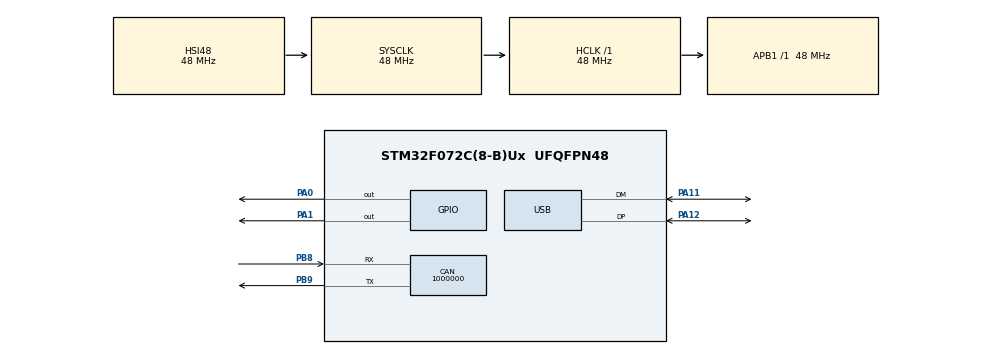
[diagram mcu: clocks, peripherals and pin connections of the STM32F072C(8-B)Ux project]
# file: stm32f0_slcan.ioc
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CAN.CalculateBaudRate=1000000
CAN.CalculateTimeBit=1000
CAN.CalculateTimeQuantum=333.3333333333333
Mcu.Family=STM32F0
Mcu.Name=STM32F072C(8-B)Ux
Mcu.Package=UFQFPN48
NVIC.CEC_CAN_IRQn=true\:0\:0\:false\:false\:true\:true\:true\:true
NVIC.USB_IRQn=true\:0\:0\:false\:false\:true\:false\:true\:true
PA0.Signal=GPIO_Output
PA1.Signal=GPIO_Output
PA11.Mode=Device
PA11.Signal=USB_DM
PA12.Mode=Device
PA12.Signal=USB_DP
PA13.Mode=Serial_Wire
PA13.Signal=SYS_SWDIO
PA14.Mode=Serial_Wire
PA14.Signal=SYS_SWCLK
PB8.Mode=CAN_Activate
PB8.Signal=CAN_RX
PB9.Mode=CAN_Activate
PB9.Signal=CAN_TX
ProjectManager.HeapSize=0x200
ProjectManager.StackSize=0x400
ProjectManager.TargetToolchain=Makefile
RCC.AHBFreq_Value=48000000
RCC.APB1Freq_Value=48000000
RCC.APB1TimFreq_Value=48000000
RCC.HCLKFreq_Value=48000000
RCC.SYSCLKFreq_VALUE=48000000
RCC.SYSCLKSource=RCC_SYSCLKSOURCE_HSI48
USB_DEVICE.CLASS_NAME_FS=CDC
USB_DEVICE.VirtualMode=Cdc
USB_DEVICE.VirtualModeFS=Cdc_FS
VP_USB_DEVICE_VS_USB_DEVICE_CDC_FS.Mode=CDC_FS
board=custom

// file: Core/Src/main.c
/* USER CODE BEGIN Header */
/**
 ******************************************************************************
 * @file           : main.c
 * @brief          : Main program body
 ******************************************************************************
 * @attention
 *
 * Copyright (c) 2023 STMicroelectronics.
 * All rights reserved.
 *
 * This software is licensed under terms that can be found in the LICENSE file
 * in the root directory of this software component.
 * If no LICENSE file comes with this software, it is provided AS-IS.
 *
 ******************************************************************************
 */
/* USER CODE END Header */
#include "main.h"
#include "can.h"
#include "gpio.h"
#include "usb_device.h"

/* USER CODE BEGIN Includes */
#include "bsp_can.h"
#include "bsp_led.h"
#include "slcan.h"

/* USER CODE END Includes */

void SystemClock_Config(void);

int main(void)
{

    /* MCU Configuration--------------------------------------------------------*/

    /* Reset of all peripherals, Initializes the Flash interface and the Systick. */
    HAL_Init();

    /* Configure the system clock */
    SystemClock_Config();

    /* Initialize all configured peripherals */
    MX_GPIO_Init();
    MX_CAN_Init();
    MX_USB_DEVICE_Init();
    /* USER CODE BEGIN 2 */

    can_init();
    led_init();

    // Storage for status and received message buffer
    CAN_RxHeaderTypeDef rx_msg_header;
    uint8_t             rx_msg_data[8] = { 0 };
    uint8_t             msg_buf[SLCAN_MTU];

    /* USER CODE END 2 */

    /* Infinite loop */
    while (1) {

        /* USER CODE BEGIN 3 */
        cdc_process();
        led_process();
        can_process();

        // If CAN message receive is pending, process the message
        if (is_can_msg_pending(CAN_RX_FIFO0)) {
            // If message received from bus, parse the frame
            if (can_rx(&rx_msg_header, rx_msg_data) == HAL_OK) {
                uint16_t msg_len = slcan_parse_frame((uint8_t*)&msg_buf, &rx_msg_header, rx_msg_data);

                // Transmit message via USB-CDC
                if (msg_len) {
                    CDC_Transmit_FS(msg_buf, msg_len);
                }
            }
        }
    }
    /* USER CODE END 3 */
}

void SystemClock_Config(void)
{
    RCC_OscInitTypeDef       RCC_OscInitStruct = { 0 };
    RCC_ClkInitTypeDef       RCC_ClkInitStruct = { 0 };
    RCC_PeriphCLKInitTypeDef PeriphClkInit     = { 0 };

    /** Initializes the RCC Oscillators according to the specified parameters
     * in the RCC_OscInitTypeDef structure.
     */
    RCC_OscInitStruct.OscillatorType = RCC_OSCILLATORTYPE_HSI48;
    RCC_OscInitStruct.HSI48State     = RCC_HSI48_ON;
    RCC_OscInitStruct.PLL.PLLState   = RCC_PLL_NONE;
    if (HAL_RCC_OscConfig(&RCC_OscInitStruct) != HAL_OK) {
        Error_Handler();
    }

    /** Initializes the CPU, AHB and APB buses clocks
     */
    RCC_ClkInitStruct.ClockType      = RCC_CLOCKTYPE_HCLK | RCC_CLOCKTYPE_SYSCLK | RCC_CLOCKTYPE_PCLK1;
    RCC_ClkInitStruct.SYSCLKSource   = RCC_SYSCLKSOURCE_HSI48;
    RCC_ClkInitStruct.AHBCLKDivider  = RCC_SYSCLK_DIV1;
    RCC_ClkInitStruct.APB1CLKDivider = RCC_HCLK_DIV1;

    if (HAL_RCC_ClockConfig(&RCC_ClkInitStruct, FLASH_LATENCY_1) != HAL_OK) {
        Error_Handler();
    }
    PeriphClkInit.PeriphClockSelection = RCC_PERIPHCLK_USB;
    PeriphClkInit.UsbClockSelection    = RCC_USBCLKSOURCE_HSI48;

    if (HAL_RCCEx_PeriphCLKConfig(&PeriphClkInit) != HAL_OK) {
        Error_Handler();
    }
}

void Error_Handler(void)
{
    __disable_irq();
    while (1) {
    }
}
